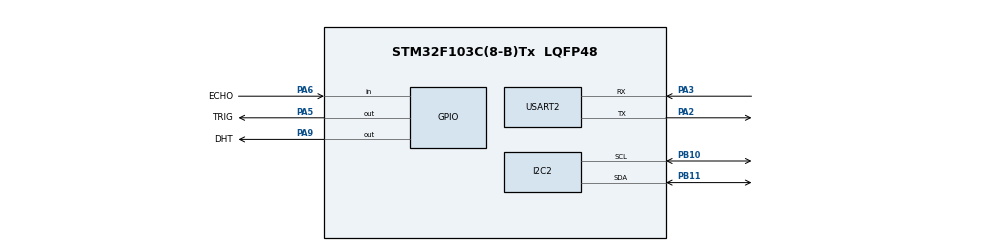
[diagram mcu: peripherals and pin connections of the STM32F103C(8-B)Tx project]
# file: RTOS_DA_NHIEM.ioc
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FREERTOS.BinarySemaphores01=DataSem,Dynamic,NULL;IRQSem,Dynamic,NULL
FREERTOS.Tasks01=defaultTask,24,128,StartDefaultTask,Default,NULL,Dynamic,NULL,NULL;DHT11,40,256,Task_DHT,Default,NULL,Dynamic,NULL,NULL;DIST,42,256,Task_Dist,Default,NULL,Dynamic,NULL,NULL;HandleInterrupt,33,128,Task_InterruptHandler,Default,NULL,Dynamic,NULL,NULL;LCD,16,256,Task_LCD,Default,NULL,Dynamic,NULL,NULL
FREERTOS.configTOTAL_HEAP_SIZE=4872
FREERTOS.configUSE_NEWLIB_REENTRANT=0
Mcu.Family=STM32F1
Mcu.Name=STM32F103C(8-B)Tx
Mcu.Package=LQFP48
NVIC.PriorityGroup=NVIC_PRIORITYGROUP_4
NVIC.TIM1_UP_IRQn=true\:15\:0\:false\:false\:true\:false\:false\:true\:true
NVIC.TimeBase=TIM1_UP_IRQn
NVIC.TimeBaseIP=TIM1
PA13.Mode=Serial_Wire
PA13.Signal=SYS_JTMS-SWDIO
PA14.Mode=Serial_Wire
PA14.Signal=SYS_JTCK-SWCLK
PA2.Mode=Asynchronous
PA2.Signal=USART2_TX
PA3.Mode=Asynchronous
PA3.Signal=USART2_RX
PA5.GPIO_Label=TRIG
PA5.Signal=GPIO_Output
PA6.GPIO_Label=ECHO
PA6.Signal=GPIO_Input
PA9.GPIO_Label=DHT
PA9.Signal=GPIO_Output
PB10.Mode=I2C
PB10.Signal=I2C2_SCL
PB11.Mode=I2C
PB11.Signal=I2C2_SDA
PD0-OSC_IN.Mode=HSE-External-Oscillator
PD0-OSC_IN.Signal=RCC_OSC_IN
PD1-OSC_OUT.Mode=HSE-External-Oscillator
PD1-OSC_OUT.Signal=RCC_OSC_OUT
ProjectManager.HeapSize=0x200
ProjectManager.StackSize=0x400
ProjectManager.TargetToolchain=STM32CubeIDE
RCC.APB1Freq_Value=8000000
RCC.APB2Freq_Value=8000000
USART2.VirtualMode=VM_ASYNC
VP_FREERTOS_VS_CMSIS_V2.Mode=CMSIS_V2
VP_SYS_VS_tim1.Mode=TIM1
VP_TIM4_VS_ClockSourceINT.Mode=Internal
board=custom

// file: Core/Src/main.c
/* USER CODE BEGIN Header */
/**
  ******************************************************************************
  * @file           : main.c
  * @brief          : Main program body
  ******************************************************************************
  * @attention
  *
  * Copyright (c) 2024 STMicroelectronics.
  * All rights reserved.
  *
  * This software is licensed under terms that can be found in the LICENSE file
  * in the root directory of this software component.
  * If no LICENSE file comes with this software, it is provided AS-IS.
  *
  ******************************************************************************
  */
/* USER CODE END Header */
#include "main.h"
#include "cmsis_os.h"

/* USER CODE BEGIN Includes */
#include <stdio.h>
#include <string.h>
#include <stdlib.h>
#include "dht11.h"
#include "delay_timer.h"
#include "lcd_i2c.h"
#include "hrf05.h"
/* Private includes ----------------------------------------------------------*/
/* USER CODE BEGIN Includes */
typedef enum
{
	LCD_DISTANCE,
	LCD_TEM,
	LCD_HUMI,
	LCD_FULL
} LCD_Mode;

/* USER CODE END Includes */

/* USER CODE BEGIN PTD */
#define MAX_RX_LEN 				15
#define DISPLAY_COMMAND_LEN 	13
/* USER CODE END PTD */

I2C_HandleTypeDef hi2c2;

TIM_HandleTypeDef htim4;

UART_HandleTypeDef huart2;

/* Definitions for defaultTask */
osThreadId_t defaultTaskHandle;
const osThreadAttr_t defaultTask_attributes = {
  .name = "defaultTask",
  .stack_size = 128 * 4,
  .priority = (osPriority_t) osPriorityNormal,
};
/* Definitions for DHT11 */
osThreadId_t DHT11Handle;
const osThreadAttr_t DHT11_attributes = {
  .name = "DHT11",
  .stack_size = 256 * 4,
  .priority = (osPriority_t) osPriorityHigh,
};
/* Definitions for DIST */
osThreadId_t DISTHandle;
const osThreadAttr_t DIST_attributes = {
  .name = "DIST",
  .stack_size = 256 * 4,
  .priority = (osPriority_t) osPriorityHigh2,
};
/* Definitions for HandleInterrupt */
osThreadId_t HandleInterruptHandle;
const osThreadAttr_t HandleInterrupt_attributes = {
  .name = "HandleInterrupt",
  .stack_size = 128 * 4,
  .priority = (osPriority_t) osPriorityAboveNormal1,
};
/* Definitions for LCD */
osThreadId_t LCDHandle;
const osThreadAttr_t LCD_attributes = {
  .name = "LCD",
  .stack_size = 256 * 4,
  .priority = (osPriority_t) osPriorityBelowNormal,
};
/* Definitions for DataSem */
osSemaphoreId_t DataSemHandle;
const osSemaphoreAttr_t DataSem_attributes = {
  .name = "DataSem"
};
/* Definitions for IRQSem */
osSemaphoreId_t IRQSemHandle;
const osSemaphoreAttr_t IRQSem_attributes = {
  .name = "IRQSem"
};
/* USER CODE BEGIN PV */
typedef struct
{
	float humi;
	float dist;
	float temp;
} senseData_t;
DHT11_Sensor dht11;
LCD_I2C_Name lcd;
SRF05_Device_Name hrf05;

/* Buffers and flags */
uint8_t count;
DHT11_Status dhtStatus;
uint8_t rxData[20]; /* Data receive buffer */
uint8_t rxDataId = 0;
char temp[20];
LCD_Mode LCDMode = LCD_FULL;
uint32_t dhtInterval = 1000;
uint32_t distInterval = 1000;
/* USER CODE END PV */
senseData_t senseData;
osStatus_t status;
void SystemClock_Config(void);
static void MX_GPIO_Init(void);
static void MX_I2C2_Init(void);
static void MX_TIM4_Init(void);
static void MX_USART2_UART_Init(void);
void StartDefaultTask(void *argument);
void Task_DHT(void *argument);
void Task_Dist(void *argument);
void Task_InterruptHandler(void *argument);
void Task_LCD(void *argument);

/* USER CODE BEGIN PFP */
int __io_putchar(int a)
{
	HAL_UART_Transmit(&huart2, (uint8_t *)&a, 1, HAL_MAX_DELAY);
	return a;
}
void HAL_UART_RxCpltCallback(UART_HandleTypeDef *huart)
{
	if (huart->Instance == huart2.Instance)
	{
		if (rxData[rxDataId] == '\n')
		{
			rxData[rxDataId] = '\0';
			printf("\nCommand: %s\r\n", rxData);
			rxDataId = 0;
			if (osThreadGetPriority(HandleInterruptHandle) != osPriorityHigh)
			{
				osThreadSetPriority(HandleInterruptHandle, osPriorityHigh);
			}
			osSemaphoreRelease(IRQSemHandle);
		}
		else
		{
			rxDataId ++;
		}
	}
	HAL_UART_Receive_IT(&huart2, (uint8_t*)&rxData[rxDataId], 1);
}
/* USER CODE END PFP */

int main(void)
{

  /* MCU Configuration--------------------------------------------------------*/

  /* Reset of all peripherals, Initializes the Flash interface and the Systick. */
  HAL_Init();

  /* Configure the system clock */
  SystemClock_Config();

  /* Initialize all configured peripherals */
  MX_GPIO_Init();
  MX_I2C2_Init();
  MX_TIM4_Init();
  MX_USART2_UART_Init();
  /* USER CODE BEGIN 2 */
	printf("run\r\n\n");
	DHT11_Init(&dht11, DHT_GPIO_Port, DHT_Pin, &htim4);
	LCD_Init(&lcd, &hi2c2, LDC_DEFAULT_ADDRESS, 20, 4);
	SRF05_Init(&hrf05, ECHO_GPIO_Port, ECHO_Pin, TRIG_GPIO_Port, TRIG_Pin);
	HAL_UART_Receive_IT(&huart2, (uint8_t*)&rxData[rxDataId], 1);
	LCD_SetCursor(&lcd, 0, 0);
	LCD_WriteString(&lcd, "Watting");
  /* USER CODE END 2 */

  /* Init scheduler */
  osKernelInitialize();

  /* Create the semaphores(s) */
  /* creation of DataSem */
  DataSemHandle = osSemaphoreNew(1, 0, &DataSem_attributes);

  /* creation of IRQSem */
  IRQSemHandle = osSemaphoreNew(1, 0, &IRQSem_attributes);

  /* Create the thread(s) */
  /* creation of defaultTask */
  defaultTaskHandle = osThreadNew(StartDefaultTask, NULL, &defaultTask_attributes);

  /* creation of DHT11 */
  DHT11Handle = osThreadNew(Task_DHT, NULL, &DHT11_attributes);

  /* creation of DIST */
  DISTHandle = osThreadNew(Task_Dist, NULL, &DIST_attributes);

  /* creation of HandleInterrupt */
  HandleInterruptHandle = osThreadNew(Task_InterruptHandler, NULL, &HandleInterrupt_attributes);

  /* creation of LCD */
  LCDHandle = osThreadNew(Task_LCD, NULL, &LCD_attributes);

  /* Start scheduler */
  osKernelStart();

  /* We should never get here as control is now taken by the scheduler */
  /* Infinite loop */
  while (1)
  {

  }
}

void SystemClock_Config(void)
{
  RCC_OscInitTypeDef RCC_OscInitStruct = {0};
  RCC_ClkInitTypeDef RCC_ClkInitStruct = {0};

  /** Initializes the RCC Oscillators according to the specified parameters
  * in the RCC_OscInitTypeDef structure.
  */
  RCC_OscInitStruct.OscillatorType = RCC_OSCILLATORTYPE_HSI;
  RCC_OscInitStruct.HSIState = RCC_HSI_ON;
  RCC_OscInitStruct.HSICalibrationValue = RCC_HSICALIBRATION_DEFAULT;
  RCC_OscInitStruct.PLL.PLLState = RCC_PLL_NONE;
  if (HAL_RCC_OscConfig(&RCC_OscInitStruct) != HAL_OK)
  {
    Error_Handler();
  }

  /** Initializes the CPU, AHB and APB buses clocks
  */
  RCC_ClkInitStruct.ClockType = RCC_CLOCKTYPE_HCLK|RCC_CLOCKTYPE_SYSCLK
                              |RCC_CLOCKTYPE_PCLK1|RCC_CLOCKTYPE_PCLK2;
  RCC_ClkInitStruct.SYSCLKSource = RCC_SYSCLKSOURCE_HSI;
  RCC_ClkInitStruct.AHBCLKDivider = RCC_SYSCLK_DIV1;
  RCC_ClkInitStruct.APB1CLKDivider = RCC_HCLK_DIV1;
  RCC_ClkInitStruct.APB2CLKDivider = RCC_HCLK_DIV1;

  if (HAL_RCC_ClockConfig(&RCC_ClkInitStruct, FLASH_LATENCY_0) != HAL_OK)
  {
    Error_Handler();
  }
}

static void MX_I2C2_Init(void)
{

  hi2c2.Instance = I2C2;
  hi2c2.Init.ClockSpeed = 100000;
  hi2c2.Init.DutyCycle = I2C_DUTYCYCLE_2;
  hi2c2.Init.OwnAddress1 = 0;
  hi2c2.Init.AddressingMode = I2C_ADDRESSINGMODE_7BIT;
  hi2c2.Init.DualAddressMode = I2C_DUALADDRESS_DISABLE;
  hi2c2.Init.OwnAddress2 = 0;
  hi2c2.Init.GeneralCallMode = I2C_GENERALCALL_DISABLE;
  hi2c2.Init.NoStretchMode = I2C_NOSTRETCH_DISABLE;
  if (HAL_I2C_Init(&hi2c2) != HAL_OK)
  {
    Error_Handler();
  }

}

static void MX_TIM4_Init(void)
{

  TIM_ClockConfigTypeDef sClockSourceConfig = {0};
  TIM_MasterConfigTypeDef sMasterConfig = {0};

  htim4.Instance = TIM4;
  htim4.Init.Prescaler = 0;
  htim4.Init.CounterMode = TIM_COUNTERMODE_UP;
  htim4.Init.Period = 65535;
  htim4.Init.ClockDivision = TIM_CLOCKDIVISION_DIV1;
  htim4.Init.AutoReloadPreload = TIM_AUTORELOAD_PRELOAD_DISABLE;
  if (HAL_TIM_Base_Init(&htim4) != HAL_OK)
  {
    Error_Handler();
  }
  sClockSourceConfig.ClockSource = TIM_CLOCKSOURCE_INTERNAL;
  if (HAL_TIM_ConfigClockSource(&htim4, &sClockSourceConfig) != HAL_OK)
  {
    Error_Handler();
  }
  sMasterConfig.MasterOutputTrigger = TIM_TRGO_RESET;
  sMasterConfig.MasterSlaveMode = TIM_MASTERSLAVEMODE_DISABLE;
  if (HAL_TIMEx_MasterConfigSynchronization(&htim4, &sMasterConfig) != HAL_OK)
  {
    Error_Handler();
  }

}

static void MX_USART2_UART_Init(void)
{

  huart2.Instance = USART2;
  huart2.Init.BaudRate = 115200;
  huart2.Init.WordLength = UART_WORDLENGTH_8B;
  huart2.Init.StopBits = UART_STOPBITS_1;
  huart2.Init.Parity = UART_PARITY_NONE;
  huart2.Init.Mode = UART_MODE_TX_RX;
  huart2.Init.HwFlowCtl = UART_HWCONTROL_NONE;
  huart2.Init.OverSampling = UART_OVERSAMPLING_16;
  if (HAL_UART_Init(&huart2) != HAL_OK)
  {
    Error_Handler();
  }

}

static void MX_GPIO_Init(void)
{
  GPIO_InitTypeDef GPIO_InitStruct = {0};

  /* GPIO Ports Clock Enable */
  __HAL_RCC_GPIOD_CLK_ENABLE();
  __HAL_RCC_GPIOA_CLK_ENABLE();
  __HAL_RCC_GPIOB_CLK_ENABLE();

  /*Configure GPIO pin Output Level */
  HAL_GPIO_WritePin(GPIOA, TRIG_Pin|DHT_Pin, GPIO_PIN_RESET);

  /*Configure GPIO pins : TRIG_Pin DHT_Pin */
  GPIO_InitStruct.Pin = TRIG_Pin|DHT_Pin;
  GPIO_InitStruct.Mode = GPIO_MODE_OUTPUT_PP;
  GPIO_InitStruct.Pull = GPIO_NOPULL;
  GPIO_InitStruct.Speed = GPIO_SPEED_FREQ_LOW;
  HAL_GPIO_Init(GPIOA, &GPIO_InitStruct);

  /*Configure GPIO pin : ECHO_Pin */
  GPIO_InitStruct.Pin = ECHO_Pin;
  GPIO_InitStruct.Mode = GPIO_MODE_INPUT;
  GPIO_InitStruct.Pull = GPIO_NOPULL;
  HAL_GPIO_Init(ECHO_GPIO_Port, &GPIO_InitStruct);

}

void StartDefaultTask(void *argument)
{
  for(;;)
  {
    osDelay(1);
  }
}

void Task_DHT(void *argument)
{
	int32_t tick = osKernelGetTickCount();
  /* USER CODE BEGIN Task_DHT */
  /* Infinite loop */
  for(;;)
  {
	  if (osSemaphoreGetCount(DataSemHandle) != 0)
	  		{
	  			osSemaphoreAcquire(DataSemHandle, osWaitForever);
	  		}
	  		tick = tick + dhtInterval;
	  		printf("TASK_DHT11 I: %ld\r\n", osKernelGetTickCount());
	  		SRF05_Read(&hrf05);
	  		senseData.dist = hrf05.Distance;
	  		printf("TASK_DHT11 O: %ld\r\n\n", osKernelGetTickCount());
	  		dhtStatus = DHT11_GetData(&dht11);
	  		switch(dhtStatus)
	  		{
	  		case DHT11_ERR_CHECKSUM:
	  			printf(" ERROR DHT11 CHECKSUM\r\n");
	  			break;
	  		case DHT11_ERR_RESPONSE:
	  			printf(" ERROR DHT11 RESPONSE\r\n");
	  			break;
	  		default:
	  			senseData.temp = dht11.Temp;
	  			senseData.humi = dht11.Humi;
	  			break;
	  		}

	  		osSemaphoreRelease(DataSemHandle);
	  		osDelayUntil(tick);

  }
  /* USER CODE END Task_DHT */
}

void Task_Dist(void *argument)
{
	int32_t tk = osKernelGetTickCount();
  /* USER CODE BEGIN Task_Dist */
  /* Infinite loop */
  for(;;)
  {
	  if (osSemaphoreGetCount(DataSemHandle) != 0)
	  		{
	  			osSemaphoreAcquire(DataSemHandle, osWaitForever);
	  		}
	  		tk = tk + distInterval;
	  		printf("TASK_DIST I: %ld\r\n", osKernelGetTickCount());
	  		SRF05_Read(&hrf05);
	  		senseData.dist = hrf05.Distance;
	  		printf("TASK_DIST O: %ld\r\n\n", osKernelGetTickCount());

	  		osSemaphoreRelease(DataSemHandle);

	  		osDelayUntil(tk);
  }
  /* USER CODE END Task_Dist */
}

void Task_InterruptHandler(void *argument)
{
  /* USER CODE BEGIN Task_InterruptHandler */
  /* Infinite loop */
  for(;;)
  {
	  /* Temporary pause others tasks */
	  		osSemaphoreAcquire(IRQSemHandle, osWaitForever);
	  		osThreadSuspend(DISTHandle);
	  		osThreadSuspend(DHT11Handle);
	  		osThreadSuspend(LCDHandle);
	  		/* Interrupt handler */
	  		char *command = strtok((char*)rxData, " ");
	  		char *time = strtok(NULL, " ");
	  		if (NULL == time){
	  			if (strcmp((const char*)rxData, "lcdtemp") == 0)
	  			{
	  				LCDMode = LCD_TEM;
	  				printf("Change Mode to LCD_TEM\r\n\n");
	  			}
	  			else if (strcmp((const char*)rxData, "lcdhumi") == 0)
	  			{
	  				LCDMode = LCD_HUMI;
	  				printf("Change Mode to LCD_HUMI\r\n\n");
	  			}
	  			else if (strcmp((const char*)rxData, "lcddist") == 0)
	  			{
	  				LCDMode = LCD_DISTANCE;
	  				printf("Change Mode to LCD_DIST\r\n\n");
	  			}
	  			else if (strcmp((const char*)rxData, "lcdboth") == 0)
	  			{
	  				LCDMode = LCD_FULL;
	  				printf("Change Mode to LCD_FUL\r\n\n");
	  			}
	  			else
	  			{
	  				printf("Error Syntax\r\n\n");
	  			}
	  		}
	  		else {
	  			uint32_t T = atoi(time);
	  			if (strcmp((const char*)command, "timedht11") == 0)
	  			{
	  				dhtInterval = T;
	  				printf("Change period of dht11 time to %ld\r\n", T);
	  			}
	  			else if (strcmp((const char*)command, "timedist") == 0)
	  			{
	  				distInterval = T;
	  				printf("Change period of dist time to %ld\r\n", T);
	  			}
	  			else
	  			{
	  				printf("Error Command Syntax\r\n\n");
	  			}
	  		}
	  		/* let continue others */
	  		osThreadResume(DISTHandle);
	  		osThreadResume(DHT11Handle);
	  		osThreadResume(LCDHandle);

  }
  /* USER CODE END Task_InterruptHandler */
}

void Task_LCD(void *argument)
{
  /* USER CODE BEGIN Task_LCD */
  /* Infinite loop */
  for(;;)
  {
	  osSemaphoreAcquire(DataSemHandle, osWaitForever);
	  		printf("TASK_LCD IN: %ld\r\n", osKernelGetTickCount());

	  		if (dhtStatus == DHT11_OK)
	  		{
	  			LCD_Clear(&lcd);
	  			switch (LCDMode){
	  			case LCD_HUMI:
	  				sprintf(temp, "H: %.2f", senseData.humi);
	  				LCD_SetCursor(&lcd, 0, 0);
	  				LCD_WriteString(&lcd, temp);
	  				printf("Humi: %.2f\r\n", senseData.humi);
	  				break;
	  			case LCD_TEM:
	  				sprintf(temp, "T: %.2f", senseData.temp);
	  				LCD_SetCursor(&lcd, 0, 0);
	  				LCD_WriteString(&lcd, temp);
	  				printf("Tem: %.2f\r\n", senseData.temp);
	  				break;
	  			case LCD_DISTANCE:
	  				sprintf(temp, "D: %.2f", senseData.dist);
	  				LCD_SetCursor(&lcd, 0, 0);
	  				LCD_WriteString(&lcd, temp);
	  				printf("Dist: %.2f\r\n", senseData.dist);
	  				break;

	  			case LCD_FULL:
	  				sprintf(temp, "T: %.2f H: %.2f", senseData.temp, senseData.humi);
	  				LCD_SetCursor(&lcd, 0, 0);
	  				LCD_WriteString(&lcd, temp);
	  				printf("Temperature: %.2f\r\n", senseData.temp);
	  				printf("Humidity: %.2f\r\n", senseData.humi);
	  				sprintf(temp, "D: %.2f", senseData.dist);
	  				LCD_SetCursor(&lcd, 0, 1);
	  				LCD_WriteString(&lcd, temp);
	  				printf("Distance: %.2f\r\n", senseData.dist);
	  				break;
	  			}
	  		}
	  		printf("TASK_LCD O: %ld\r\n\n", osKernelGetTickCount());
  }
  /* USER CODE END Task_LCD */
}

void HAL_TIM_PeriodElapsedCallback(TIM_HandleTypeDef *htim)
{
  if (htim->Instance == TIM1) {
    HAL_IncTick();
  }
}

void Error_Handler(void)
{
  __disable_irq();
  while (1)
  {
  }
}
